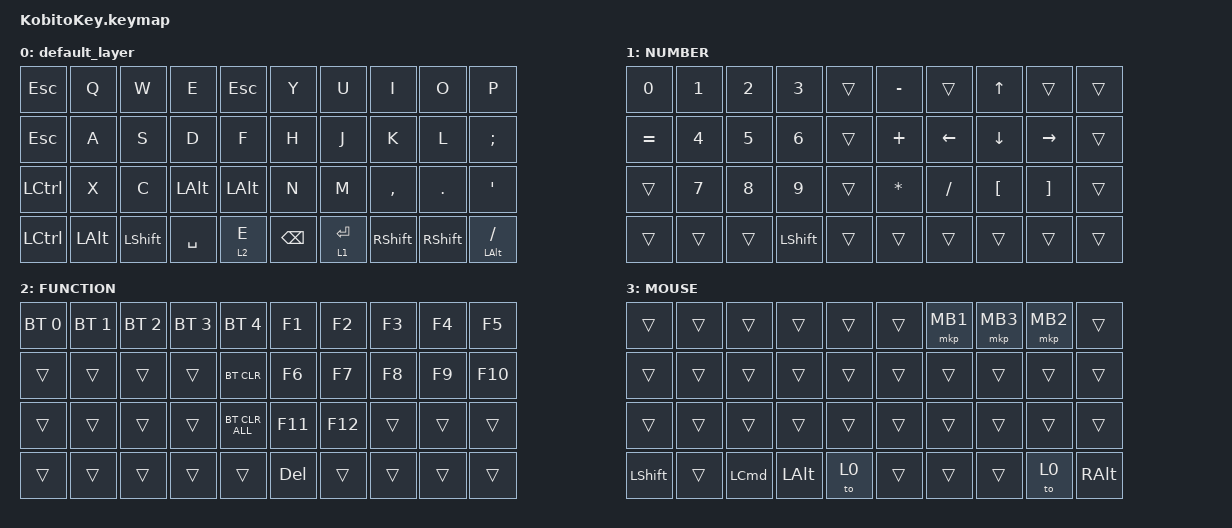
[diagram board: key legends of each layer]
#include <input/processors.dtsi>
#include <behaviors.dtsi>
#include <dt-bindings/zmk/bt.h>
#include <dt-bindings/zmk/keys.h>
#include <dt-bindings/zmk/pointing.h>

/ {
    combos {
        compatible = "zmk,combos";

        combo_eisu {
            timeout-ms = <50>;
            key-positions = <12 13>;
            bindings = <&kp LANG2>;
        };

        combo_kana {
            timeout-ms = <50>;
            key-positions = <16 17>;
            bindings = <&kp LANG1>;
        };

        combo_esc {
            timeout-ms = <50>;
            key-positions = <0 1>;
            bindings = <&kp ESC>;
        };

        combo_tab {
            timeout-ms = <50>;
            key-positions = <10 11>;
            bindings = <&kp TAB>;
        };
    };

    keymap {
        compatible = "zmk,keymap";

        default_layer {
            bindings = <
&kp ESCAPE        &kp Q     &kp W           &kp E         &kp ESCAPE    &kp Y     &kp U        &kp I      &kp O      &kp P
&kp ESCAPE        &kp A     &kp S           &kp D         &kp F         &kp H     &kp J        &kp K      &kp L      &kp SEMI
&kp LEFT_CONTROL  &kp X     &kp C           &kp LEFT_ALT  &kp LEFT_ALT  &kp N     &kp M        &kp COMMA  &kp DOT    &kp APOS
&kp LEFT_CONTROL  &kp LALT  &kp LEFT_SHIFT  &kp SPACE     &lt 2 E       &kp BSPC  &lt 1 ENTER  &kp RSHFT  &kp RSHFT  &mt LALT SLASH
            >;
        };

        layer1 {
            label = "NUMBER";
            bindings = <
&kp N0     &kp N1  &kp N2  &kp N3     &trans  &kp MINUS  &trans     &kp UP    &trans     &trans
&kp EQUAL  &kp N4  &kp N5  &kp N6     &trans  &kp PLUS   &kp LEFT   &kp DOWN  &kp RIGHT  &trans
&trans     &kp N7  &kp N8  &kp N9     &trans  &kp ASTRK  &kp SLASH  &kp LBKT  &kp RBKT   &trans
&trans     &trans  &trans  &kp LSHFT  &trans  &trans     &trans     &trans    &trans     &trans
            >;
        };

        layer2 {
            label = "FUNCTION";
            bindings = <
&bt BT_SEL 0  &bt BT_SEL 1  &bt BT_SEL 2  &bt BT_SEL 3  &bt BT_SEL 4    &kp F1   &kp F2   &kp F3  &kp F4  &kp F5
&trans        &trans        &trans        &trans        &bt BT_CLR      &kp F6   &kp F7   &kp F8  &kp F9  &kp F10
&trans        &trans        &trans        &trans        &bt BT_CLR_ALL  &kp F11  &kp F12  &trans  &trans  &trans
&trans        &trans        &trans        &trans        &trans          &kp DEL  &trans   &trans  &trans  &trans
            >;
        };

        layer3 {
            label = "MOUSE";
            bindings = <
&trans     &trans  &trans    &trans    &trans  &trans  &mkp MB1  &mkp MB3  &mkp MB2  &trans
&trans     &trans  &trans    &trans    &trans  &trans  &trans    &trans    &trans    &trans
&trans     &trans  &trans    &trans    &trans  &trans  &trans    &trans    &trans    &trans
&kp LSHFT  &trans  &kp LCMD  &kp LALT  &to 0   &trans  &trans    &trans    &to 0     &kp RALT
            >;
        };
    };
};
